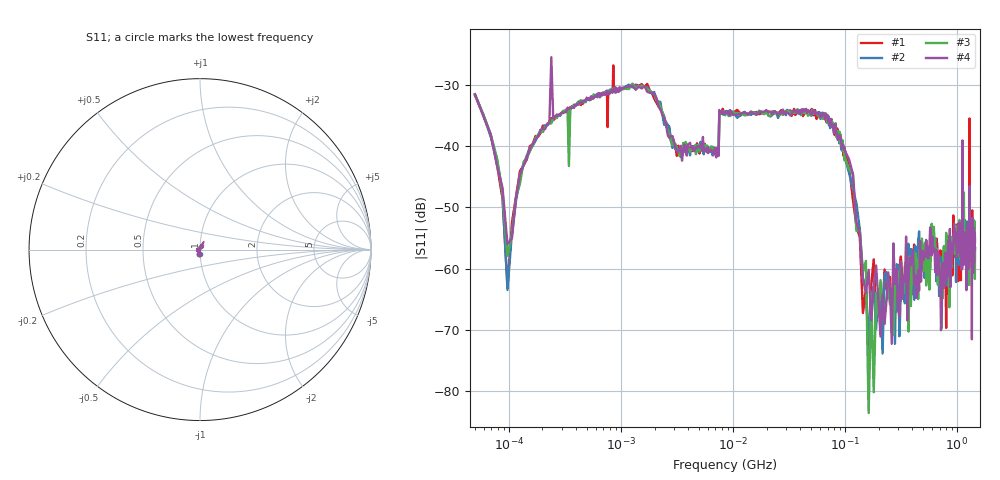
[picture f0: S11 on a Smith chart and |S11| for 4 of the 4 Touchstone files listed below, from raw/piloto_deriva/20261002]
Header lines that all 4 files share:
# HZ S RI R 50
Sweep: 50 kHz to 1.45 GHz
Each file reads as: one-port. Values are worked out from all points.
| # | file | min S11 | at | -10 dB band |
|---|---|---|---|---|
| 1 | 20261002T084544Z_sol_carga_r01.s1p | -73.0 dB | 163 MHz | over 1.45 GHz wide |
| 2 | 20261002T084609Z_sol_carga_r02.s1p | -73.9 dB | 217 MHz | over 1.45 GHz wide |
| 3 | 20261002T084633Z_sol_carga_r03.s1p | -83.5 dB | 163 MHz | over 1.45 GHz wide |
| 4 | 20261002T084658Z_sol_abierto_r01.s1p | -72.3 dB | 262 MHz | over 1.45 GHz wide |
